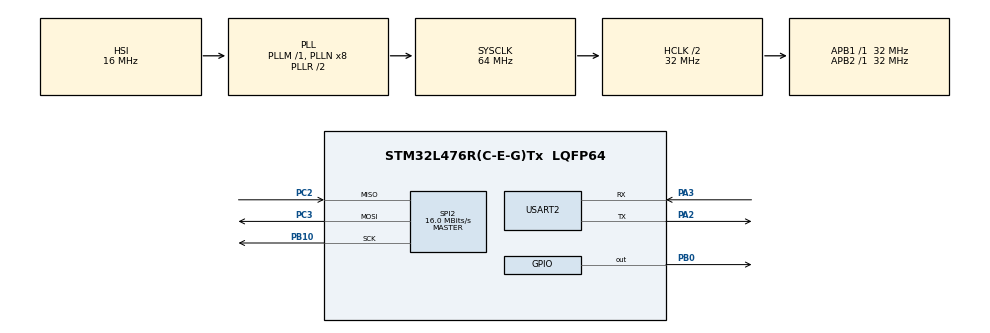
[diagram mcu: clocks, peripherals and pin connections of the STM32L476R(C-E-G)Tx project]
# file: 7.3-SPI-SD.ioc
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Mcu.Family=STM32L4
Mcu.Name=STM32L476R(C-E-G)Tx
Mcu.Package=LQFP64
NVIC.PriorityGroup=NVIC_PRIORITYGROUP_4
PA13\ (JTMS-SWDIO).Mode=Serial_Wire
PA13\ (JTMS-SWDIO).Signal=SYS_JTMS-SWDIO
PA14\ (JTCK-SWCLK).Mode=Serial_Wire
PA14\ (JTCK-SWCLK).Signal=SYS_JTCK-SWCLK
PA2.Mode=Asynchronous
PA2.Signal=USART2_TX
PA3.Mode=Asynchronous
PA3.Signal=USART2_RX
PB0.Signal=GPIO_Output
PB10.Mode=Full_Duplex_Master
PB10.Signal=SPI2_SCK
PC2.Mode=Full_Duplex_Master
PC2.Signal=SPI2_MISO
PC3.Mode=Full_Duplex_Master
PC3.Signal=SPI2_MOSI
PH0-OSC_IN\ (PH0).Mode=HSE-External-Oscillator
PH0-OSC_IN\ (PH0).Signal=RCC_OSC_IN
PH1-OSC_OUT\ (PH1).Mode=HSE-External-Oscillator
PH1-OSC_OUT\ (PH1).Signal=RCC_OSC_OUT
ProjectManager.HeapSize=0x200
ProjectManager.StackSize=0x400
ProjectManager.TargetToolchain=STM32CubeIDE
RCC.ADCFreq_Value=64000000
RCC.AHBCLKDivider=RCC_SYSCLK_DIV2
RCC.AHBFreq_Value=32000000
RCC.APB1Freq_Value=32000000
RCC.APB1TimFreq_Value=32000000
RCC.APB2Freq_Value=32000000
RCC.APB2TimFreq_Value=32000000
RCC.CortexFreq_Value=32000000
RCC.HCLKFreq_Value=32000000
RCC.HSE_VALUE=8000000
RCC.HSI_VALUE=16000000
RCC.LSE_VALUE=32768
RCC.MSI_VALUE=4000000
RCC.PLLSourceVirtual=RCC_PLLSOURCE_HSI
RCC.PREFETCH_ENABLE=1
RCC.SYSCLKFreq_VALUE=64000000
RCC.SYSCLKSource=RCC_SYSCLKSOURCE_PLLCLK
RCC.USBFreq_Value=64000000
RCC.VCOOutputFreq_Value=128000000
RTC.Date=22
RTC.Month=RTC_MONTH_APRIL
RTC.Year=24
SPI2.CalculateBaudRate=16.0 MBits/s
SPI2.Direction=SPI_DIRECTION_2LINES
SPI2.Mode=SPI_MODE_MASTER
SPI2.VirtualType=VM_MASTER
USART2.VirtualMode-Asynchronous=VM_ASYNC
VP_FATFS_VS_Generic.Mode=User_defined
VP_RTC_VS_RTC_Activate.Mode=RTC_Enabled
VP_RTC_VS_RTC_Calendar.Mode=RTC_Calendar
board=NUCLEO-L476RG

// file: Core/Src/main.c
/* USER CODE BEGIN Header */
/**
  ******************************************************************************
  * @file           : main.c
  * @brief          : Main program body
  ******************************************************************************
  * @attention
  *
  * Copyright (c) 2024 STMicroelectronics.
  * All rights reserved.
  *
  * This software is licensed under terms that can be found in the LICENSE file
  * in the root directory of this software component.
  * If no LICENSE file comes with this software, it is provided AS-IS.
  *
  ******************************************************************************
  */
/* USER CODE END Header */
#include "main.h"
#include "fatfs.h"

/* USER CODE BEGIN Includes */
#include <stdbool.h>
#include <stdio.h>
#include <string.h>
#include "fatfs_sd.h"
/* USER CODE END Includes */

RTC_HandleTypeDef hrtc;

SPI_HandleTypeDef hspi2;

UART_HandleTypeDef huart2;

/* USER CODE BEGIN PV */
char TxBuffer[250];
volatile uint8_t Timer1, Timer2;

FATFS FatFs;
  FIL Fil;
  FRESULT FR_Status;
  FATFS *FS_Ptr;
  UINT RWC, WWC; // Read/Write Word Counter
  DWORD FreeClusters;
  uint32_t TotalSize, FreeSpace;
  char RW_Buffer[200];
/* USER CODE END PV */

void SystemClock_Config(void);
static void MX_GPIO_Init(void);
static void MX_USART2_UART_Init(void);
static void MX_RTC_Init(void);
static void MX_SPI2_Init(void);
/* USER CODE BEGIN PFP */
static void SD_Card_Test(void);
/* USER CODE END PFP */

/* USER CODE BEGIN 0 */
static void UART_Print(char* str)
{
    HAL_UART_Transmit(&huart2, (uint8_t *) str, strlen(str), 100);
}
/* USER CODE END 0 */

int main(void)
{

  /* MCU Configuration--------------------------------------------------------*/

  /* Reset of all peripherals, Initializes the Flash interface and the Systick. */
  HAL_Init();

  /* Configure the system clock */
  SystemClock_Config();

  /* Initialize all configured peripherals */
  MX_GPIO_Init();
  MX_USART2_UART_Init();
  MX_RTC_Init();
  MX_FATFS_Init();
  MX_SPI2_Init();
  /* USER CODE BEGIN 2 */

  //Mount sd card

    f_mount(&FatFs, "/", 1);
//    if (fresult != FR_OK)
//  	   send_uart ("ERROR!!! in mounting SD CARD...\n\n");
//    else send_uart("SD CARD mounted successfully...\n\n");

    /***** Card capacity details ********/

//      	/* Check free space */
//      	f_getfree("", &fre_clust, &pfs);
//
//      	total = (uint32_t)((pfs->n_fatent - 2) * pfs->csize * 0.5);
//      	sprintf (buffer, "SD CARD Total Size: \t%lu\n",total);
//      	send_uart(buffer);
//      	bufclear();
//      	free_space = (uint32_t)(fre_clust * pfs->csize * 0.5);
//      	sprintf (buffer, "SD CARD Free Space: \t%lu\n\n",free_space);
//      	send_uart(buffer);
//      	bufclear();

  //Test The SD Card
    SD_Card_Test();

  /* USER CODE END 2 */

  /* Infinite loop */
  while (1)
  {

  }
}

void SystemClock_Config(void)
{
  RCC_OscInitTypeDef RCC_OscInitStruct = {0};
  RCC_ClkInitTypeDef RCC_ClkInitStruct = {0};

  /** Configure the main internal regulator output voltage
  */
  if (HAL_PWREx_ControlVoltageScaling(PWR_REGULATOR_VOLTAGE_SCALE1) != HAL_OK)
  {
    Error_Handler();
  }

  /** Initializes the RCC Oscillators according to the specified parameters
  * in the RCC_OscInitTypeDef structure.
  */
  RCC_OscInitStruct.OscillatorType = RCC_OSCILLATORTYPE_HSI|RCC_OSCILLATORTYPE_LSI;
  RCC_OscInitStruct.HSIState = RCC_HSI_ON;
  RCC_OscInitStruct.HSICalibrationValue = RCC_HSICALIBRATION_DEFAULT;
  RCC_OscInitStruct.LSIState = RCC_LSI_ON;
  RCC_OscInitStruct.PLL.PLLState = RCC_PLL_ON;
  RCC_OscInitStruct.PLL.PLLSource = RCC_PLLSOURCE_HSI;
  RCC_OscInitStruct.PLL.PLLM = 1;
  RCC_OscInitStruct.PLL.PLLN = 8;
  RCC_OscInitStruct.PLL.PLLP = RCC_PLLP_DIV7;
  RCC_OscInitStruct.PLL.PLLQ = RCC_PLLQ_DIV2;
  RCC_OscInitStruct.PLL.PLLR = RCC_PLLR_DIV2;
  if (HAL_RCC_OscConfig(&RCC_OscInitStruct) != HAL_OK)
  {
    Error_Handler();
  }

  /** Initializes the CPU, AHB and APB buses clocks
  */
  RCC_ClkInitStruct.ClockType = RCC_CLOCKTYPE_HCLK|RCC_CLOCKTYPE_SYSCLK
                              |RCC_CLOCKTYPE_PCLK1|RCC_CLOCKTYPE_PCLK2;
  RCC_ClkInitStruct.SYSCLKSource = RCC_SYSCLKSOURCE_PLLCLK;
  RCC_ClkInitStruct.AHBCLKDivider = RCC_SYSCLK_DIV2;
  RCC_ClkInitStruct.APB1CLKDivider = RCC_HCLK_DIV1;
  RCC_ClkInitStruct.APB2CLKDivider = RCC_HCLK_DIV1;

  if (HAL_RCC_ClockConfig(&RCC_ClkInitStruct, FLASH_LATENCY_1) != HAL_OK)
  {
    Error_Handler();
  }
}

static void MX_RTC_Init(void)
{

  RTC_TimeTypeDef sTime = {0};
  RTC_DateTypeDef sDate = {0};

  /** Initialize RTC Only
  */
  hrtc.Instance = RTC;
  hrtc.Init.HourFormat = RTC_HOURFORMAT_24;
  hrtc.Init.AsynchPrediv = 127;
  hrtc.Init.SynchPrediv = 255;
  hrtc.Init.OutPut = RTC_OUTPUT_DISABLE;
  hrtc.Init.OutPutRemap = RTC_OUTPUT_REMAP_NONE;
  hrtc.Init.OutPutPolarity = RTC_OUTPUT_POLARITY_HIGH;
  hrtc.Init.OutPutType = RTC_OUTPUT_TYPE_OPENDRAIN;
  if (HAL_RTC_Init(&hrtc) != HAL_OK)
  {
    Error_Handler();
  }

  /** Initialize RTC and set the Time and Date
  */
  sTime.Hours = 0x0;
  sTime.Minutes = 0x0;
  sTime.Seconds = 0x0;
  sTime.DayLightSaving = RTC_DAYLIGHTSAVING_NONE;
  sTime.StoreOperation = RTC_STOREOPERATION_RESET;
  if (HAL_RTC_SetTime(&hrtc, &sTime, RTC_FORMAT_BCD) != HAL_OK)
  {
    Error_Handler();
  }
  sDate.WeekDay = RTC_WEEKDAY_MONDAY;
  sDate.Month = RTC_MONTH_APRIL;
  sDate.Date = 0x22;
  sDate.Year = 0x24;

  if (HAL_RTC_SetDate(&hrtc, &sDate, RTC_FORMAT_BCD) != HAL_OK)
  {
    Error_Handler();
  }

}

static void MX_SPI2_Init(void)
{

  /* SPI2 parameter configuration*/
  hspi2.Instance = SPI2;
  hspi2.Init.Mode = SPI_MODE_MASTER;
  hspi2.Init.Direction = SPI_DIRECTION_2LINES;
  hspi2.Init.DataSize = SPI_DATASIZE_4BIT;
  hspi2.Init.CLKPolarity = SPI_POLARITY_LOW;
  hspi2.Init.CLKPhase = SPI_PHASE_1EDGE;
  hspi2.Init.NSS = SPI_NSS_SOFT;
  hspi2.Init.BaudRatePrescaler = SPI_BAUDRATEPRESCALER_2;
  hspi2.Init.FirstBit = SPI_FIRSTBIT_MSB;
  hspi2.Init.TIMode = SPI_TIMODE_DISABLE;
  hspi2.Init.CRCCalculation = SPI_CRCCALCULATION_DISABLE;
  hspi2.Init.CRCPolynomial = 7;
  hspi2.Init.CRCLength = SPI_CRC_LENGTH_DATASIZE;
  hspi2.Init.NSSPMode = SPI_NSS_PULSE_ENABLE;
  if (HAL_SPI_Init(&hspi2) != HAL_OK)
  {
    Error_Handler();
  }

}

static void MX_USART2_UART_Init(void)
{

  huart2.Instance = USART2;
  huart2.Init.BaudRate = 115200;
  huart2.Init.WordLength = UART_WORDLENGTH_8B;
  huart2.Init.StopBits = UART_STOPBITS_1;
  huart2.Init.Parity = UART_PARITY_NONE;
  huart2.Init.Mode = UART_MODE_TX_RX;
  huart2.Init.HwFlowCtl = UART_HWCONTROL_NONE;
  huart2.Init.OverSampling = UART_OVERSAMPLING_16;
  huart2.Init.OneBitSampling = UART_ONE_BIT_SAMPLE_DISABLE;
  huart2.AdvancedInit.AdvFeatureInit = UART_ADVFEATURE_NO_INIT;
  if (HAL_UART_Init(&huart2) != HAL_OK)
  {
    Error_Handler();
  }

}

static void MX_GPIO_Init(void)
{
  GPIO_InitTypeDef GPIO_InitStruct = {0};

  /* GPIO Ports Clock Enable */
  __HAL_RCC_GPIOH_CLK_ENABLE();
  __HAL_RCC_GPIOC_CLK_ENABLE();
  __HAL_RCC_GPIOA_CLK_ENABLE();
  __HAL_RCC_GPIOB_CLK_ENABLE();

  /*Configure GPIO pin Output Level */
  HAL_GPIO_WritePin(GPIOB, GPIO_PIN_0, GPIO_PIN_RESET);

  /*Configure GPIO pin : PB0 */
  GPIO_InitStruct.Pin = GPIO_PIN_0;
  GPIO_InitStruct.Mode = GPIO_MODE_OUTPUT_PP;
  GPIO_InitStruct.Pull = GPIO_NOPULL;
  GPIO_InitStruct.Speed = GPIO_SPEED_FREQ_LOW;
  HAL_GPIO_Init(GPIOB, &GPIO_InitStruct);

}

/* USER CODE BEGIN 4 */
static void SD_Card_Test(void)
{

  do
  {
    //------------------[ Mount The SD Card ]--------------------
    FR_Status = f_mount(&FatFs, "/", 1);
    if (FR_Status != FR_OK)
    {
      sprintf(TxBuffer, "Error! While Mounting SD Card, Error Code: (%i)\r\n", FR_Status);
      UART_Print(TxBuffer);
      break;
    }
    sprintf(TxBuffer, "SD Card Mounted Successfully! \r\n\n");
    UART_Print(TxBuffer);
    //------------------[ Get & Print The SD Card Size & Free Space ]--------------------
    f_getfree("", &FreeClusters, &FS_Ptr);
    TotalSize = (uint32_t)((FS_Ptr->n_fatent - 2) * FS_Ptr->csize * 0.5);
    FreeSpace = (uint32_t)(FreeClusters * FS_Ptr->csize * 0.5);
    sprintf(TxBuffer, "Total SD Card Size: %lu Bytes\r\n", TotalSize);
    UART_Print(TxBuffer);
    sprintf(TxBuffer, "Free SD Card Space: %lu Bytes\r\n\n", FreeSpace);
    UART_Print(TxBuffer);
    //------------------[ Open A Text File For Write & Write Data ]--------------------
    //Open the file
    FR_Status = f_open(&Fil, "TextFileWrite.txt", FA_WRITE | FA_READ | FA_CREATE_ALWAYS);
    if(FR_Status != FR_OK)
    {
      sprintf(TxBuffer, "Error! While Creating/Opening A New Text File, Error Code: (%i)\r\n", FR_Status);
      UART_Print(TxBuffer);
      break;
    }
    sprintf(TxBuffer, "Text File Created & Opened! Writing Data To The Text File..\r\n\n");
    UART_Print(TxBuffer);
    // (1) Write Data To The Text File [ Using f_puts() Function ]
    f_puts("Hello! From STM32 To SD Card Over SPI, Using f_puts()\n", &Fil);
    // (2) Write Data To The Text File [ Using f_write() Function ]
    strcpy(RW_Buffer, "Hello! From STM32 To SD Card Over SPI, Using f_write()\r\n");
    f_write(&Fil, RW_Buffer, strlen(RW_Buffer), &WWC);
    // Close The File
    f_close(&Fil);
    //------------------[ Open A Text File For Read & Read Its Data ]--------------------
    // Open The File
    FR_Status = f_open(&Fil, "TextFileWrite.txt", FA_READ);
    if(FR_Status != FR_OK)
    {
      sprintf(TxBuffer, "Error! While Opening (TextFileWrite.txt) File For Read.. \r\n");
      UART_Print(TxBuffer);
      break;
    }
    // (1) Read The Text File's Data [ Using f_gets() Function ]
    f_gets(RW_Buffer, sizeof(RW_Buffer), &Fil);
    sprintf(TxBuffer, "Data Read From (TextFileWrite.txt) Using f_gets():%s", RW_Buffer);
    UART_Print(TxBuffer);
    // (2) Read The Text File's Data [ Using f_read() Function ]
    f_read(&Fil, RW_Buffer, f_size(&Fil), &RWC);
    sprintf(TxBuffer, "Data Read From (TextFileWrite.txt) Using f_read():%s", RW_Buffer);
    UART_Print(TxBuffer);
    // Close The File
    f_close(&Fil);
    sprintf(TxBuffer, "File Closed! \r\n\n");
    UART_Print(TxBuffer);
    //------------------[ Open An Existing Text File, Update Its Content, Read It Back ]--------------------
    // (1) Open The Existing File For Write (Update)
    FR_Status = f_open(&Fil, "TextFileWrite.txt", FA_OPEN_EXISTING | FA_WRITE);
    FR_Status = f_lseek(&Fil, f_size(&Fil)); // Move The File Pointer To The EOF (End-Of-File)
    if(FR_Status != FR_OK)
    {
      sprintf(TxBuffer, "Error! While Opening (TextFileWrite.txt) File For Update.. \r\n");
      UART_Print(TxBuffer);
      break;
    }
    // (2) Write New Line of Text Data To The File
    FR_Status = f_puts("This New Line Was Added During Update!\r\n", &Fil);
    f_close(&Fil);
    memset(RW_Buffer,'\0',sizeof(RW_Buffer)); // Clear The Buffer
    // (3) Read The Contents of The Text File After The Update
    FR_Status = f_open(&Fil, "TextFileWrite.txt", FA_READ); // Open The File For Read
    f_read(&Fil, RW_Buffer, f_size(&Fil), &RWC);
    sprintf(TxBuffer, "Data Read From (TextFileWrite.txt) After Update:%s", RW_Buffer);
    UART_Print(TxBuffer);
    f_close(&Fil);
    //------------------[ Delete The Text File ]--------------------
    // Delete The File
    /*
    FR_Status = f_unlink(TextFileWrite.txt);
    if (FR_Status != FR_OK){
        sprintf(TxBuffer, "Error! While Deleting The (TextFileWrite.txt) File.. \r\n");
        UART_Print(TxBuffer);
    }
    */
  } while(0);
  //------------------[ Test Complete! Unmount The SD Card ]--------------------
  FR_Status = f_mount(NULL, "", 0);
  if (FR_Status != FR_OK)
  {
      sprintf(TxBuffer, "Error! While Un-mounting SD Card, Error Code: (%i)\r\n", FR_Status);
      UART_Print(TxBuffer);
  } else{
      sprintf(TxBuffer, "SD Card Un-mounted Successfully! \r\n");
      UART_Print(TxBuffer);
  }
}
/* USER CODE END 4 */

void Error_Handler(void)
{
  __disable_irq();
  while (1)
  {
  }
}
